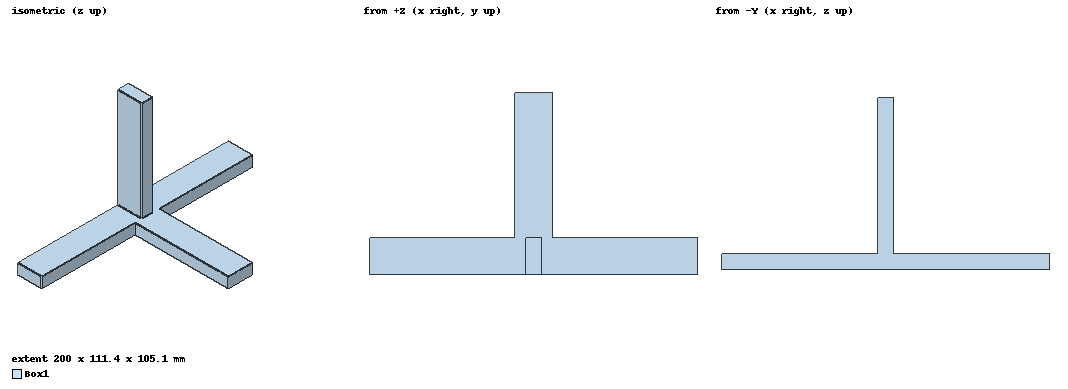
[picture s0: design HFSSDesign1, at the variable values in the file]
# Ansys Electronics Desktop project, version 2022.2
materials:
  vacuum: permittivity=1

design HFSSDesign1 (HFSS, DrivenModal, model units mm)
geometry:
  Box1 [vacuum] = box(corner=(-11.43mm, 0mm, -5.08mm), size=(22.86mm, 100mm, 10.16mm))
  Box1_1 = Box1.duplicate_around_axis(axis=Z, angle=90deg, total=2)
  Box1_2 = Box1.duplicate_around_axis(axis=Z, angle=-90deg, total=2)
  Box1_2_1 = Box1_2.duplicate_around_axis(axis=Y, angle=-90deg, total=2)
  Box1.unite(Box1_1, Box1_2, Box1_2_1)
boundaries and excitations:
  PerfE1: Perfect E Faces=Box1.face(4 of 6, 2 of 6, +z, +x, 4 of 6, 4 of 6, 1 of 6, -x, 6 of 6, -z)
  1: Wave Port Faces=Box1.face(+y) NumModes=1 Modes{Mode1{IntLine{(0, 100, -5.08) -> (0, 100, 5.08)} CharImp=Zpi}}
  2: Wave Port Faces=Box1.face(5 of 6) NumModes=1 Modes{Mode1{IntLine{(5.08, 0, 100) -> (-5.08, 0, 100)} CharImp=Zpi}}
  3: Wave Port Faces=Box1.face(5 of 6) NumModes=1 Modes{Mode1{IntLine{(100, 0, -5.08) -> (100, 0, 5.08)} CharImp=Zpi}}
  4: Wave Port Faces=Box1.face(5 of 6) NumModes=1 Modes{Mode1{IntLine{(-100, 0, -5.08) -> (-100, 0, 5.08)} CharImp=Zpi}}
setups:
  Setup1: HfssDriven MultipleAdaptiveFreqsSetup{Low=5GHz High=20GHz} MaxDeltaS=0.02 MaximumPasses=20 MinimumPasses=1 MinimumConvergedPasses=1 PercentRefinement=30 BasisOrder=1 PortAccuracy=2 DrivenSolverType="Direct Solver"
    sweep Sweep: 5GHz to 20GHz, 401 points; Type=Fast SaveFields
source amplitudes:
  1:1: 1W 0deg
  2:1, 3:1, 4:1: 0W 0deg
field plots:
  Mag_E1: E Field in Box1 on Setup1 : LastAdaptive at Freq=12.5GHz Phase=0deg
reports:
  S Parameter Plot 1: dB(S(1,3)), dB(S(2,3)), dB(S(3,3)), dB(S(4,3)) vs Freq on Setup1 : Sweep
